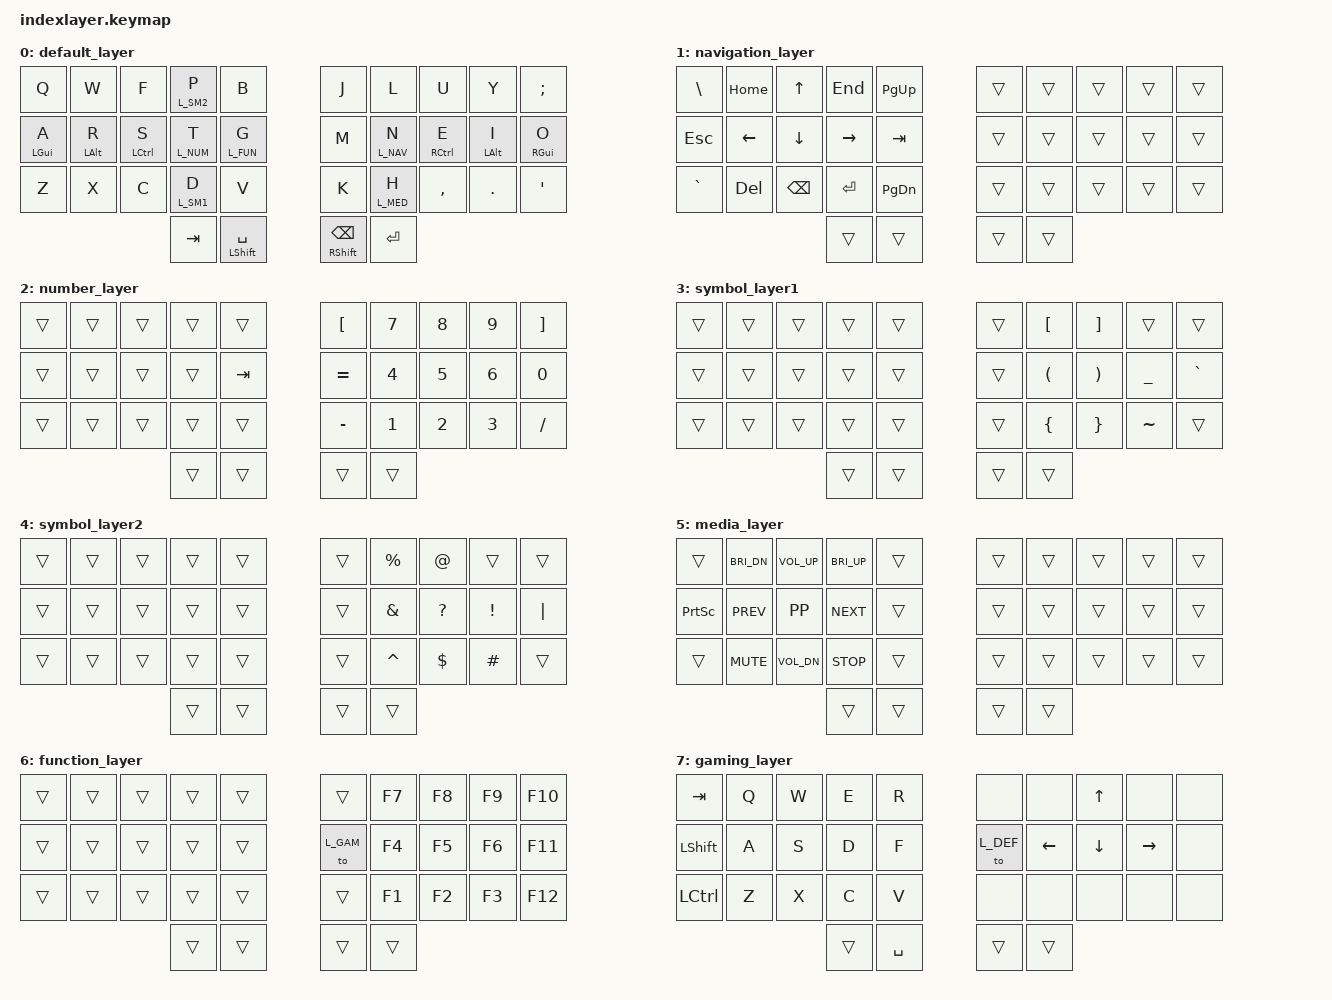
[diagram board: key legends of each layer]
/*
 * Copyright (c) 2020 The ZMK Contributors
 *
 * SPDX-License-Identifier: MIT
 */

#include <behaviors.dtsi>
#include <dt-bindings/zmk/bt.h>
#include <dt-bindings/zmk/keys.h>

// GENERAL KEYS
#define GEN_NONE &none
#define GEN_TRAN &trans

// DEFAULT LAYER

#define L_DEF 0

#define DEF_Q &kp Q
#define DEF_W &kp W
#define DEF_F &kp F
#define DEF_P &lt L_SM2 P
#define DEF_B &kp B
                        
#define DEF_A &mt LGUI A 
#define DEF_R &mt LALT R 
#define DEF_S &mt LCTRL S
#define DEF_T &lt L_NUM T 
#define DEF_G &lt L_FUN G
        
#define DEF_Z &kp Z
#define DEF_X &kp X
#define DEF_C &kp C
#define DEF_D &lt L_SM1 D
#define DEF_V &kp V
                        

#define DEF_J &kp J
#define DEF_L &kp L
#define DEF_U &kp U
#define DEF_Y &kp Y
#define DEF_SEMI &kp SEMI

#define DEF_K &kp K
#define DEF_H &lt L_MED H
#define DEF_COMA &kp COMMA
#define DEF_DOT &kp DOT
#define DEF_QUOT &kp SQT

#define DEF_M &kp M
#define DEF_N &lt L_NAV N
#define DEF_E &mt RCTL E
#define DEF_I &mt LALT I 
#define DEF_O &mt RGUI O

#define DEF_TAB &kp TAB
#define DEF_SPC &mt LSHIFT SPC
#define DEF_BSPC &mt RSHIFT BSPC
#define DEF_RET &kp RET

// NAVIGATION LAYER
#define L_NAV 1

#define NAV_BSLH &kp BSLH
#define NAV_HOME &kp HOME
#define NAV_UP &kp UP
#define NAV_END &kp END
#define NAV_PGUP &kp PG_UP

#define NAV_ESC &kp ESC
#define NAV_LEFT &kp LEFT
#define NAV_DOWN &kp DOWN
#define NAV_RGHT &kp RIGHT
#define NAV_TAB &kp TAB

#define NAV_GRV &kp GRAVE
#define NAV_DEL &kp DEL
#define NAV_BSPC &kp BSPC
#define NAV_RET &kp RET
#define NAV_PGDN &kp PG_DN

// NUMBER LAYER
#define L_NUM 2

#define NUM_LBKT &kp LBKT
#define NUM_N7 &kp N7 
#define NUM_N8 &kp N8
#define NUM_N9 &kp N9
#define NUM_RBKT &kp RBKT 

#define NUM_EQUL &kp EQUAL
#define NUM_N4 &kp N4
#define NUM_N5 &kp N5
#define NUM_N6 &kp N6
#define NUM_N0 &kp N0

#define NUM_MIN &kp MINUS
#define NUM_N1 &kp N1
#define NUM_N2 &kp N2
#define NUM_N3 &kp N3
#define NUM_FSLH &kp FSLH

// SYMBOLS LAYER 1
#define L_SM1 3
// ()?_![]{}`~\|@#$%^&

#define SYM_LBKT &kp LBKT
#define SYM_RBKT &kp RBKT

#define SYM_LPAR &kp LPAR
#define SYM_RPAR &kp RPAR
#define SYM_UNDR &kp UNDER
#define SYM_GRV &kp GRAVE

#define SYM_LBRC &kp LBRC
#define SYM_RBRC &kp RBRC
#define SYM_TLDE &kp TILDE

// SYMBOLS LAYER 2
#define L_SM2 4

#define SYM_PER &kp PERCENT
#define SYM_AT &kp AT

#define SYM_AND &kp AMPERSAND
#define SYM_QUES &kp QUESTION
#define SYM_EXCL &kp EXCLAMATION
#define SYM_PIPE &kp PIPE

#define SYM_CAR &kp CARET
#define SYM_DOL &kp DOLLAR
#define SYM_HASH &kp HASH

// MEDIA LAYER
#define L_MED 5

#define MED_BRID &kp C_BRI_DN
#define MED_VOLU &kp C_VOL_UP
#define MED_BRIU &kp C_BRI_UP


#define MED_PRNT &kp PSCRN
#define MED_PREV &kp C_PREV
#define MED_PLAY &kp K_PP
#define MED_NEXT &kp C_NEXT

#define MED_MUTE &kp C_MUTE
#define MED_VOLD &kp C_VOL_DN
#define MED_STOP &kp C_STOP

// FUNCTION LAYER
#define L_FUN 6

#define FUN_F7 &kp F7
#define FUN_F8 &kp F8
#define FUN_F9 &kp F9
#define FUN_F10 &kp F10

#define FUN_GAME &to L_GAM
#define FUN_F4 &kp F4
#define FUN_F5 &kp F5
#define FUN_F6 &kp F6
#define FUN_F11 &kp F11

#define FUN_BOOT &bootloader
#define FUN_F1 &kp F1
#define FUN_F2 &kp F2
#define FUN_F3 &kp F3
#define FUN_F13 &kp F12

// GAMING LAYER
#define L_GAM 7

#define GAM_TAB &kp TAB
#define GAM_Q &kp Q
#define GAM_W &kp W
#define GAM_E &kp E
#define GAM_R &kp R

#define GAM_LSFT &kp LSHIFT
#define GAM_A &kp A
#define GAM_S &kp S
#define GAM_D &kp D
#define GAM_F &kp F

#define GAM_LCTL &kp LCTRL
#define GAM_Z &kp Z
#define GAM_X &kp X
#define GAM_C &kp C
#define GAM_V &kp V


#define GAM_UP &kp UP

#define GAM_DEF &to L_DEF
#define GAM_LEFT &kp LEFT
#define GAM_DOWN &kp DOWN
#define GAM_RGHT &kp RIGHT

#define GAM_ESC &kp ESC
#define GAM_SPC &kp SPACE


&mt {
  flavor = "tap-preferred";
  tapping_term_ms = <200>;
};

&lt {
  flavor = "tap-preferred";
  tapping_term_ms = <200>;
};

/ {
  combos {
    compatible = "zmk,combos";
    combo_bspc {
      timeout-ms = <50>;
      key-positions = <15 16>;
      bindings = <&kp BSPC>;
    };

    combo_ret {
      timeout-ms = <50>;
      key-positions = <13 14>;
      bindings = <&kp RET>;
    };

    combo_esc {
      timeout-ms = <50>;
      key-positions = <23 24>;
      bindings = <&kp ESC>;
    };

    combo_del {
      timeout-ms = <50>;
      key-positions = <25 26>;
      bindings = <&kp DEL>;
    };

    combo_bootloader {
      timeout-ms = <50>;
      key-positions = <0 20>;
      bindings = <&bootloader>;
    };

    combo_btclr {
      timeout-ms = <50>;
      key-positions = <2 22>;
      bindings = <&bt BT_CLR>;
    };
  };

  keymap {
    compatible = "zmk,keymap";

    default_layer {
      bindings = <
        DEF_Q    DEF_W    DEF_F    DEF_P    DEF_B          DEF_J    DEF_L    DEF_U    DEF_Y    DEF_SEMI
        DEF_A    DEF_R    DEF_S    DEF_T    DEF_G          DEF_M    DEF_N    DEF_E    DEF_I    DEF_O
        DEF_Z    DEF_X    DEF_C    DEF_D    DEF_V          DEF_K    DEF_H    DEF_COMA DEF_DOT  DEF_QUOT
                                   DEF_TAB  DEF_SPC        DEF_BSPC  DEF_RET
      >;
    };

    navigation_layer {
      bindings = <
        NAV_BSLH NAV_HOME NAV_UP   NAV_END  NAV_PGUP       GEN_TRAN GEN_TRAN GEN_TRAN GEN_TRAN GEN_TRAN
        NAV_ESC  NAV_LEFT NAV_DOWN NAV_RGHT NAV_TAB        GEN_TRAN GEN_TRAN GEN_TRAN GEN_TRAN GEN_TRAN
        NAV_GRV  NAV_DEL  NAV_BSPC NAV_RET  NAV_PGDN       GEN_TRAN GEN_TRAN GEN_TRAN GEN_TRAN GEN_TRAN
                                   GEN_TRAN GEN_TRAN       GEN_TRAN GEN_TRAN
      >;
    };

    number_layer {
      bindings = <
        GEN_TRAN GEN_TRAN GEN_TRAN GEN_TRAN GEN_TRAN       NUM_LBKT NUM_N7    NUM_N8    NUM_N9    NUM_RBKT
        GEN_TRAN GEN_TRAN GEN_TRAN GEN_TRAN NAV_TAB        NUM_EQUL NUM_N4    NUM_N5    NUM_N6    NUM_N0
        GEN_TRAN GEN_TRAN GEN_TRAN GEN_TRAN GEN_TRAN       NUM_MIN  NUM_N1    NUM_N2    NUM_N3    NUM_FSLH
                                   GEN_TRAN GEN_TRAN       GEN_TRAN GEN_TRAN
      >;
    };

    symbol_layer1 {
      bindings = <
        GEN_TRAN GEN_TRAN GEN_TRAN GEN_TRAN GEN_TRAN       GEN_TRAN SYM_LBKT SYM_RBKT GEN_TRAN GEN_TRAN
        GEN_TRAN GEN_TRAN GEN_TRAN GEN_TRAN GEN_TRAN       GEN_TRAN SYM_LPAR SYM_RPAR SYM_UNDR SYM_GRV
        GEN_TRAN GEN_TRAN GEN_TRAN GEN_TRAN GEN_TRAN       GEN_TRAN SYM_LBRC SYM_RBRC SYM_TLDE GEN_TRAN
                                   GEN_TRAN GEN_TRAN       GEN_TRAN GEN_TRAN
      >;
    };

    symbol_layer2 {
      bindings = <
        GEN_TRAN GEN_TRAN GEN_TRAN GEN_TRAN GEN_TRAN       GEN_TRAN SYM_PER  SYM_AT   GEN_TRAN GEN_TRAN
        GEN_TRAN GEN_TRAN GEN_TRAN GEN_TRAN GEN_TRAN       GEN_TRAN SYM_AND  SYM_QUES SYM_EXCL SYM_PIPE
        GEN_TRAN GEN_TRAN GEN_TRAN GEN_TRAN GEN_TRAN       GEN_TRAN SYM_CAR  SYM_DOL  SYM_HASH GEN_TRAN
                                   GEN_TRAN GEN_TRAN       GEN_TRAN GEN_TRAN
      >;
    };

    media_layer {
      bindings = <
        GEN_TRAN MED_BRID MED_VOLU MED_BRIU GEN_TRAN       GEN_TRAN GEN_TRAN GEN_TRAN GEN_TRAN GEN_TRAN
        MED_PRNT MED_PREV MED_PLAY MED_NEXT GEN_TRAN       GEN_TRAN GEN_TRAN GEN_TRAN GEN_TRAN GEN_TRAN
        GEN_TRAN MED_MUTE MED_VOLD MED_STOP GEN_TRAN       GEN_TRAN GEN_TRAN GEN_TRAN GEN_TRAN GEN_TRAN
                                   GEN_TRAN GEN_TRAN       GEN_TRAN GEN_TRAN
      >;
    };

    function_layer {
      bindings = <
        GEN_TRAN GEN_TRAN GEN_TRAN GEN_TRAN GEN_TRAN       GEN_TRAN FUN_F7   FUN_F8   FUN_F9   FUN_F10
        GEN_TRAN GEN_TRAN GEN_TRAN GEN_TRAN GEN_TRAN       FUN_GAME FUN_F4   FUN_F5   FUN_F6   FUN_F11
        GEN_TRAN GEN_TRAN GEN_TRAN GEN_TRAN GEN_TRAN       GEN_TRAN FUN_F1   FUN_F2   FUN_F3   FUN_F13
                                   GEN_TRAN GEN_TRAN       GEN_TRAN GEN_TRAN
      >;
    };

    gaming_layer {
      bindings = <
        GAM_TAB  GAM_Q    GAM_W    GAM_E    GAM_R       GEN_NONE GEN_NONE GAM_UP   GEN_NONE GEN_NONE
        GAM_LSFT GAM_A    GAM_S    GAM_D    GAM_F       GAM_DEF  GAM_LEFT GAM_DOWN GAM_RGHT GEN_NONE
        GAM_LCTL GAM_Z    GAM_X    GAM_C    GAM_V       GEN_NONE GEN_NONE GEN_NONE GEN_NONE GEN_NONE
                                   GEN_TRAN GAM_SPC     GEN_TRAN GEN_TRAN
      >;
    };

    // empty_layer {
    //   bindings = <
    //     GEN_TRAN GEN_TRAN GEN_TRAN GEN_TRAN GEN_TRAN       GEN_TRAN GEN_TRAN GEN_TRAN GEN_TRAN GEN_TRAN
    //     GEN_TRAN GEN_TRAN GEN_TRAN GEN_TRAN GEN_TRAN       GEN_TRAN GEN_TRAN GEN_TRAN GEN_TRAN GEN_TRAN
    //     GEN_TRAN GEN_TRAN GEN_TRAN GEN_TRAN GEN_TRAN       GEN_TRAN GEN_TRAN GEN_TRAN GEN_TRAN GEN_TRAN
    //                                GEN_TRAN GEN_TRAN       GEN_TRAN GEN_TRAN
    //   >;
    // };

  };
};
